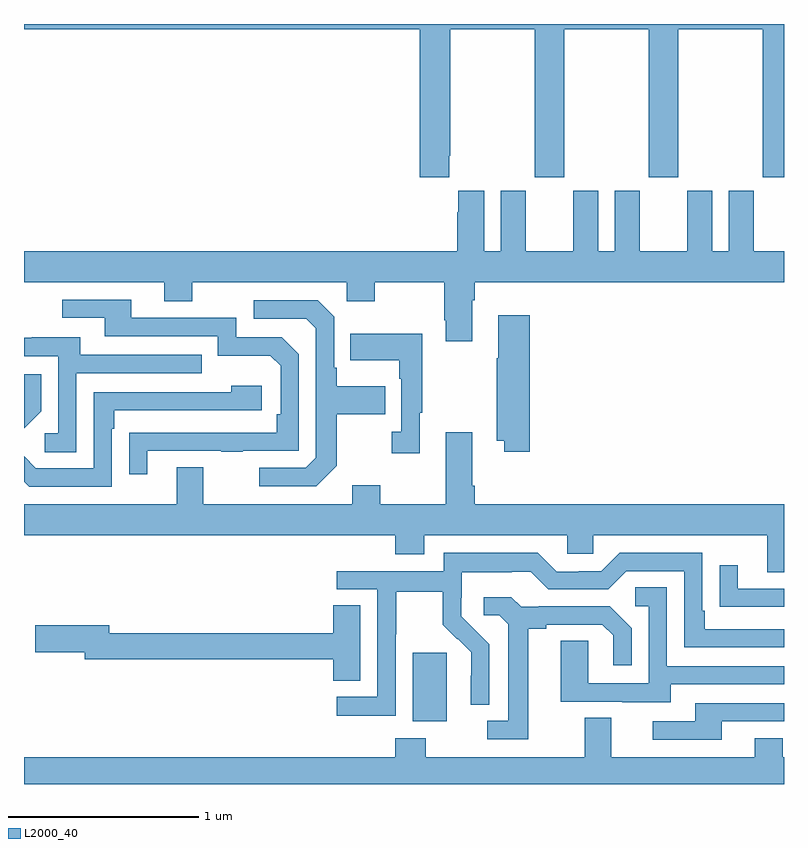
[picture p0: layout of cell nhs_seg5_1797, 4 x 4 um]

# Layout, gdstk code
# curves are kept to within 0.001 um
import gdstk
lib = gdstk.Library(unit=1e-6, precision=1e-09)
def R(c, l, rs):  # rectangles x0, y0, x1, y1
    for r in rs: c.add(gdstk.rectangle(r[:2], r[2:], *l))
def P(c, l, *ps):  # polygons
    for p in ps: c.add(gdstk.Polygon(p, *l))
L2000_40 = (2000, 40)

nhs_seg5_1797 = lib.new_cell('nhs_seg5_1797')
R(nhs_seg5_1797, L2000_40, [(221.045,841.13,221.224,841.491)])
P(nhs_seg5_1797, L2000_40, [(221.239,844.105),(221.244,844.105),(221.244,844.772),(221.689,844.772),(221.689,843.993),(221.844,843.993),(221.844,844.772),(222.289,844.772),(222.289,843.993),(222.444,843.993),(222.444,844.772),(222.889,844.772),(222.889,843.993),(223,843.993),(223,844.799),(219,844.799),(219,844.772),(221.084,844.772),(221.084,843.993),(221.239,843.993)],
  [(221.359,843.344),(221.372,843.344),(221.372,843.44),(223,843.44),(223,843.604),(222.841,843.604),(222.841,843.922),(222.71,843.922),(222.71,843.604),(222.622,843.604),(222.622,843.922),(222.491,843.922),(222.491,843.604),(222.241,843.604),(222.241,843.922),(222.11,843.922),(222.11,843.604),(222.022,843.604),(222.022,843.922),(221.891,843.922),(221.891,843.604),(221.641,843.604),(221.641,843.922),(221.51,843.922),(221.51,843.604),(221.422,843.604),(221.422,843.922),(221.285,843.922),(221.285,843.809),(221.279,843.809),(221.279,843.604),(219,843.604),(219,843.44),(219.737,843.44),(219.737,843.341),(219.885,843.341),(219.885,843.44),(220.698,843.44),(220.698,843.341),(220.845,843.341),(220.845,843.44),(221.212,843.44),(221.212,843.241),(221.219,843.241),(221.219,843.129),(221.359,843.129)],
  [(219.649,842.553),(220.039,842.553),(220.039,842.548),(220.151,842.548),(220.151,842.553),(220.446,842.553),(220.446,843.06),(220.356,843.15),(220.116,843.15),(220.116,843.252),(219.565,843.252),(219.565,843.348),(219.201,843.348),(219.201,843.252),(219.425,843.252),(219.425,843.156),(220.02,843.156),(220.02,843.053),(220.297,843.053),(220.35,843),(220.35,842.746),(220.33,842.746),(220.33,842.649),(219.553,842.648),(219.553,842.43),(219.649,842.43)],
  [(220.645,842.473),(220.645,842.746),(220.901,842.746),(220.901,842.893),(220.645,842.893),(220.645,842.989),(220.632,842.989),(220.632,843.258),(220.545,843.345),(220.209,843.345),(220.209,843.249),(220.485,843.249),(220.536,843.198),(220.536,842.517),(220.482,842.463),(220.239,842.463),(220.239,842.367),(220.539,842.367)],
  [(221.663,843.265),(221.495,843.265),(221.495,843.041),(221.488,843.041),(221.488,842.606),(221.528,842.606),(221.528,842.547),(221.663,842.547)],
  [(221.083,842.753),(221.095,842.753),(221.095,843.169),(220.717,843.169),(220.717,843.029),(220.974,843.029),(220.974,842.933),(220.986,842.933),(220.986,842.654),(220.935,842.654),(220.935,842.541),(221.083,842.541)],
  [(219.276,842.961),(219.935,842.961),(219.935,843.057),(219.295,843.057),(219.295,843.151),(219.041,843.151),(219.041,843.147),(219,843.147),(219,843.051),(219.18,843.051),(219.18,842.646),(219.108,842.646),(219.108,842.545),(219.276,842.545)],
  [(219.09,842.762),(219.09,842.956),(219,842.956),(219,842.672)],
  [(219.462,842.669),(219.475,842.669),(219.475,842.766),(220.252,842.766),(220.252,842.896),(220.091,842.896),(220.091,842.862),(219.366,842.862),(219.366,842.46),(219.063,842.46),(219,842.523),(219,842.391),(219.027,842.364),(219.462,842.364)],
  [(223,842.272),(221.372,842.272),(221.372,842.368),(221.359,842.368),(221.359,842.65),(221.219,842.65),(221.219,842.272),(220.875,842.272),(220.875,842.371),(220.727,842.371),(220.727,842.272),(219.943,842.272),(219.943,842.467),(219.803,842.467),(219.803,842.272),(219,842.272),(219,842.108),(220.955,842.108),(220.955,842.009),(221.107,842.009),(221.107,842.108),(221.859,842.108),(221.859,842.01),(221.997,842.01),(221.997,842.108),(222.911,842.108),(222.911,841.914),(223,841.914)],
  [(220.956,841.588),(220.959,841.588),(220.959,841.812),(221.203,841.812),(221.203,841.637),(221.28,841.56),(221.283,841.563),(221.354,841.493),(221.354,841.37),(221.352,841.37),(221.352,841.216),(221.448,841.216),(221.448,841.534),(221.302,841.682),(221.302,841.779),(221.304,841.779),(221.304,841.913),(221.567,841.913),(221.567,841.917),(221.667,841.917),(221.76,841.824),(222.075,841.824),(222.171,841.92),(222.474,841.92),(222.474,841.518),(223,841.518),(223,841.614),(222.583,841.614),(222.583,841.711),(222.57,841.711),(222.57,842.016),(222.135,842.016),(222.039,841.92),(221.921,841.92),(221.921,841.917),(221.805,841.917),(221.705,842.017),(221.208,842.017),(221.208,841.92),(220.647,841.92),(220.647,841.824),(220.86,841.824),(220.86,841.257),(220.647,841.257),(220.647,841.159),(220.956,841.159)],
  [(223,841.827),(222.757,841.827),(222.757,841.951),(222.661,841.951),(222.661,841.732),(222.763,841.732),(222.763,841.731),(223,841.731)],
  [(222.403,841.323),(223,841.323),(223,841.419),(222.384,841.419),(222.384,841.835),(222.216,841.835),(222.216,841.734),(222.288,841.734),(222.288,841.329),(221.97,841.329),(221.97,841.553),(221.825,841.553),(221.825,841.233),(222.149,841.233),(222.149,841.229),(222.403,841.229)],
  [(221.653,841.616),(221.749,841.616),(221.749,841.638),(222.044,841.638),(222.101,841.581),(222.101,841.425),(222.198,841.425),(222.198,841.618),(222.082,841.734),(221.71,841.734),(221.71,841.731),(221.616,841.731),(221.564,841.783),(221.421,841.783),(221.421,841.686),(221.502,841.686),(221.549,841.639),(221.549,841.131),(221.439,841.131),(221.439,841.035),(221.653,841.035)],
  [(220.771,841.739),(220.628,841.739),(220.628,841.592),(219.448,841.592),(219.448,841.635),(219.06,841.635),(219.06,841.493),(219.32,841.493),(219.32,841.456),(220.628,841.456),(220.628,841.342),(220.771,841.342)],
  [(222.673,841.128),(223,841.128),(223,841.224),(222.533,841.224),(222.533,841.128),(222.309,841.128),(222.309,841.032),(222.673,841.032)],
  [(219,840.799),(223,840.799),(223,840.94),(222.993,840.94),(222.993,841.039),(222.845,841.039),(222.845,840.94),(222.091,840.94),(222.091,841.148),(221.951,841.148),(221.951,840.94),(221.115,840.94),(221.115,841.039),(220.955,841.039),(220.955,840.94),(219,840.94)])

lib.write_gds('nhs_seg5_1797.gds')
